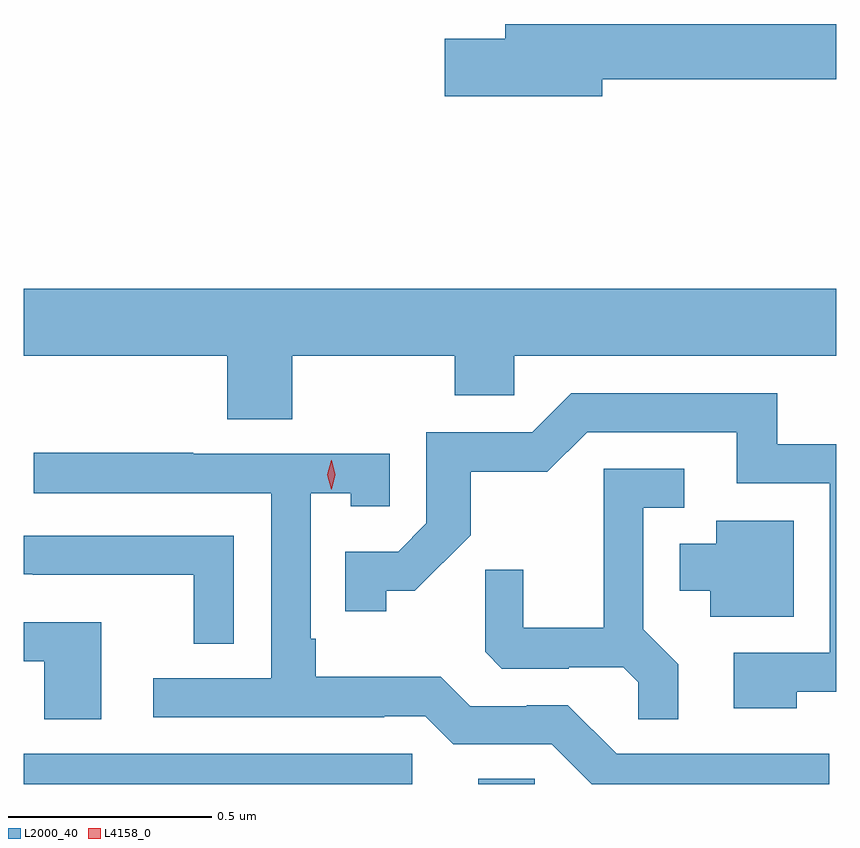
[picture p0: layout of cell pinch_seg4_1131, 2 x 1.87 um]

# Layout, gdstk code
import gdstk
lib = gdstk.Library(unit=1e-6, precision=1e-09)
def R(c, l, rs):  # rectangles x0, y0, x1, y1
    for r in rs: c.add(gdstk.rectangle(r[:2], r[2:], *l))
def P(c, l, *ps):  # polygons
    for p in ps: c.add(gdstk.Polygon(p, *l))
L2000_40 = (2000, 40)
L4158_0 = (4158, 0)

pinch_seg4_1131 = lib.new_cell('pinch_seg4_1131')
R(pinch_seg4_1131, L2000_40, [(421.598,797.098,422.554,797.172), (422.717,797.098,422.856,797.111)])
P(pinch_seg4_1131, L2000_40, [(423.022,798.832),(423.598,798.832),(423.598,798.968),(422.783,798.968),(422.783,798.932),(422.634,798.932),(422.634,798.79),(423.022,798.79)],
  [(422.259,798.152),(422.659,798.152),(422.659,798.054),(422.805,798.054),(422.805,798.152),(423.598,798.152),(423.598,798.316),(421.598,798.316),(421.598,798.152),(422.099,798.152),(422.099,797.995),(422.259,797.995)],
  [(423.501,797.325),(423.598,797.325),(423.598,797.934),(423.452,797.934),(423.452,798.06),(422.946,798.06),(422.85,797.964),(422.589,797.964),(422.589,797.739),(422.52,797.67),(422.389,797.67),(422.389,797.523),(422.49,797.523),(422.49,797.573),(422.56,797.573),(422.698,797.71),(422.698,797.866),(422.887,797.866),(422.985,797.964),(423.353,797.964),(423.353,797.838),(423.582,797.838),(423.582,797.421),(423.345,797.421),(423.345,797.285),(423.501,797.285)],
  [(423.58,797.172),(423.057,797.172),(422.937,797.292),(422.836,797.292),(422.836,797.289),(422.697,797.289),(422.624,797.362),(422.317,797.362),(422.317,797.455),(422.304,797.455),(422.304,797.813),(422.403,797.813),(422.403,797.781),(422.499,797.781),(422.499,797.91),(422.015,797.91),(422.015,797.913),(421.623,797.913),(421.623,797.814),(422.208,797.814),(422.208,797.358),(421.917,797.358),(421.917,797.262),(422.486,797.262),(422.486,797.265),(422.586,797.265),(422.655,797.196),(422.898,797.196),(422.996,797.098),(423.58,797.098)],
  [(423.209,797.393),(423.123,797.479),(423.123,797.778),(423.223,797.778),(423.223,797.874),(423.026,797.874),(423.026,797.482),(422.828,797.482),(422.828,797.625),(422.734,797.625),(422.734,797.423),(422.775,797.382),(422.94,797.382),(422.94,797.385),(423.074,797.385),(423.111,797.348),(423.111,797.257),(423.209,797.257)],
  [(423.493,797.746),(423.302,797.746),(423.302,797.689),(423.212,797.689),(423.212,797.573),(423.287,797.573),(423.287,797.51),(423.493,797.51)],
  [(422.115,797.709),(421.598,797.709),(421.598,797.614),(421.621,797.614),(421.621,797.613),(422.017,797.613),(422.017,797.443),(422.115,797.443)],
  [(421.789,797.496),(421.598,797.496),(421.598,797.4),(421.649,797.4),(421.649,797.257),(421.789,797.257)])
P(pinch_seg4_1131, L4158_0, [(422.355,797.823),(422.355,797.823),(422.345,797.859),(422.355,797.895),(422.355,797.895),(422.356,797.895),(422.365,797.859),(422.356,797.823)])

lib.write_gds('pinch_seg4_1131.gds')
